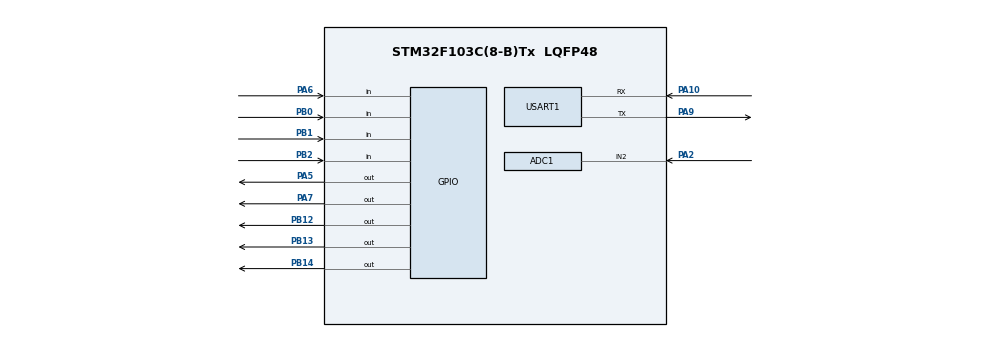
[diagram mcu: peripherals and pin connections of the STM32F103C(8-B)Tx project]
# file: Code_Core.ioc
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ADC1.Channel-0\#ChannelRegularConversion=ADC_CHANNEL_2
ADC1.ContinuousConvMode=ENABLE
ADC1.NbrOfConversionFlag=1
ADC1.Rank-0\#ChannelRegularConversion=1
ADC1.SamplingTime-0\#ChannelRegularConversion=ADC_SAMPLETIME_1CYCLE_5
ADC1.master=1
Dma.ADC1.0.Direction=DMA_PERIPH_TO_MEMORY
Dma.ADC1.0.Instance=DMA1_Channel1
Dma.ADC1.0.MemDataAlignment=DMA_MDATAALIGN_HALFWORD
Dma.ADC1.0.MemInc=DMA_MINC_DISABLE
Dma.ADC1.0.Mode=DMA_CIRCULAR
Dma.ADC1.0.PeriphDataAlignment=DMA_PDATAALIGN_HALFWORD
Dma.ADC1.0.PeriphInc=DMA_PINC_DISABLE
Dma.ADC1.0.Priority=DMA_PRIORITY_LOW
Dma.Request0=ADC1
FREERTOS.BinarySemaphores01=myBinarySem01,Dynamic,NULL,Available
FREERTOS.Events01=myEvent01,Dynamic,NULL
FREERTOS.Mutexes01=systemStateMutex,Dynamic,NULL,Available
FREERTOS.Queues01=motorCommandQueue,16,uint16_t,0,Dynamic,NULL,NULL
FREERTOS.Tasks01=defaultTask,24,128,StartDefaultTask,Default,NULL,Dynamic,NULL,NULL;InputTask,8,128,InputTask_function,Default,NULL,Dynamic,NULL,NULL;MotorTask,8,128,MotorTask_function,Default,NULL,Dynamic,NULL,NULL;EncoderTask,8,128,EncoderTask_function,Default,NULL,Dynamic,NULL,NULL;ESPTask,8,128,ESPTask_function,Default,NULL,Dynamic,NULL,NULL;OTATask,8,128,OTATask_function,Default,NULL,Dynamic,NULL,NULL
FREERTOS.configTOTAL_HEAP_SIZE=8192
Mcu.Family=STM32F1
Mcu.Name=STM32F103C(8-B)Tx
Mcu.Package=LQFP48
NVIC.DMA1_Channel1_IRQn=true\:5\:0\:false\:false\:true\:true\:false\:true\:true
NVIC.PriorityGroup=NVIC_PRIORITYGROUP_4
PA2.Signal=ADCx_IN2
PA1.Signal=S_TIM2_CH2
PA10.Mode=Asynchronous
PA10.Signal=USART1_RX
PA13.Mode=Serial_Wire
PA13.Signal=SYS_JTMS-SWDIO
PA14.Mode=Serial_Wire
PA14.Signal=SYS_JTCK-SWCLK
PA5.Signal=GPIO_Output
PA6.Signal=GPIO_Input
PA7.Signal=GPIO_Output
PA9.Mode=Asynchronous
PA9.Signal=USART1_TX
PB0.Signal=GPIO_Input
PB1.Signal=GPIO_Input
PB12.Signal=GPIO_Output
PB13.Signal=GPIO_Output
PB14.Signal=GPIO_Output
PB2.Signal=GPIO_Input
PB4.Signal=S_TIM3_CH1
PB5.Signal=S_TIM3_CH2
ProjectManager.HeapSize=0x200
ProjectManager.StackSize=0x400
ProjectManager.TargetToolchain=MDK-ARM V5
RCC.APB1Freq_Value=8000000
RCC.APB2Freq_Value=8000000
SH.ADCx_IN2.0=ADC1_IN2,IN2
SH.S_TIM2_CH2.0=TIM2_CH2
SH.S_TIM3_CH1.0=TIM3_CH1
SH.S_TIM3_CH2.0=TIM3_CH2
USART1.VirtualMode=VM_ASYNC
VP_FREERTOS_VS_CMSIS_V2.Mode=CMSIS_V2
board=custom

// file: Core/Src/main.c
/* USER CODE BEGIN Header */
/**
  ******************************************************************************
  * @file           : main.c
  * @brief          : Main program body
  ******************************************************************************
  * @attention
  *
  * Copyright (c) 2026 STMicroelectronics.
  * All rights reserved.
  *
  * This software is licensed under terms that can be found in the LICENSE file
  * in the root directory of this software component.
  * If no LICENSE file comes with this software, it is provided AS-IS.
  *
  ******************************************************************************
  */
/* USER CODE END Header */
#include "main.h"
#include "cmsis_os.h"
#include "adc.h"
#include "dma.h"
#include "usart.h"
#include "gpio.h"

void SystemClock_Config(void);
void MX_FREERTOS_Init(void);

int main(void)
{

  /* MCU Configuration--------------------------------------------------------*/

  /* Reset of all peripherals, Initializes the Flash interface and the Systick. */
  HAL_Init();

  /* Configure the system clock */
  SystemClock_Config();

  /* Initialize all configured peripherals */
  MX_GPIO_Init();
  MX_DMA_Init();
  MX_ADC1_Init();
  MX_USART1_UART_Init();
	ADC_Start();

  /* Init scheduler */
  osKernelInitialize();  /* Call init function for freertos objects (in cmsis_os2.c) */
  MX_FREERTOS_Init();

  /* Start scheduler */
  osKernelStart();

  /* We should never get here as control is now taken by the scheduler */

  /* Infinite loop */
  while (1)
  {

  }
}

void SystemClock_Config(void)
{
  RCC_OscInitTypeDef RCC_OscInitStruct = {0};
  RCC_ClkInitTypeDef RCC_ClkInitStruct = {0};
  RCC_PeriphCLKInitTypeDef PeriphClkInit = {0};

  /** Initializes the RCC Oscillators according to the specified parameters
  * in the RCC_OscInitTypeDef structure.
  */
  RCC_OscInitStruct.OscillatorType = RCC_OSCILLATORTYPE_HSI;
  RCC_OscInitStruct.HSIState = RCC_HSI_ON;
  RCC_OscInitStruct.HSICalibrationValue = RCC_HSICALIBRATION_DEFAULT;
  RCC_OscInitStruct.PLL.PLLState = RCC_PLL_NONE;
  if (HAL_RCC_OscConfig(&RCC_OscInitStruct) != HAL_OK)
  {
    Error_Handler();
  }

  /** Initializes the CPU, AHB and APB buses clocks
  */
  RCC_ClkInitStruct.ClockType = RCC_CLOCKTYPE_HCLK|RCC_CLOCKTYPE_SYSCLK
                              |RCC_CLOCKTYPE_PCLK1|RCC_CLOCKTYPE_PCLK2;
  RCC_ClkInitStruct.SYSCLKSource = RCC_SYSCLKSOURCE_HSI;
  RCC_ClkInitStruct.AHBCLKDivider = RCC_SYSCLK_DIV1;
  RCC_ClkInitStruct.APB1CLKDivider = RCC_HCLK_DIV1;
  RCC_ClkInitStruct.APB2CLKDivider = RCC_HCLK_DIV1;

  if (HAL_RCC_ClockConfig(&RCC_ClkInitStruct, FLASH_LATENCY_0) != HAL_OK)
  {
    Error_Handler();
  }
  PeriphClkInit.PeriphClockSelection = RCC_PERIPHCLK_ADC;
  PeriphClkInit.AdcClockSelection = RCC_ADCPCLK2_DIV2;
  if (HAL_RCCEx_PeriphCLKConfig(&PeriphClkInit) != HAL_OK)
  {
    Error_Handler();
  }
}

void Error_Handler(void)
{
  __disable_irq();
  while (1)
  {
  }
}

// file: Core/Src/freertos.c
/* USER CODE BEGIN Header */
/**
  ******************************************************************************
  * File Name          : freertos.c
  * Description        : Code for freertos applications
  ******************************************************************************
  * @attention
  *
  * Copyright (c) 2026 STMicroelectronics.
  * All rights reserved.
  *
  * This software is licensed under terms that can be found in the LICENSE file
  * in the root directory of this software component.
  * If no LICENSE file comes with this software, it is provided AS-IS.
  *
  ******************************************************************************
  */
/* USER CODE END Header */

#include "FreeRTOS.h"
#include "task.h"
#include "main.h"
#include "cmsis_os.h"

/* USER CODE BEGIN Includes */
#include "adc.h"
#include "usart.h"
#include "stdio.h"
#include "tim.h"
#include "gpio.h"
/* USER CODE END Includes */

/* USER CODE BEGIN Variables */
volatile uint32_t adc_value = 0;
volatile uint8_t prev_but1=1,prev_but2=1,prev_but3=1;
uint32_t cpr=1562;
uint16_t prev_cnt=0;
typedef enum mode_motor{
	FORWARD,
	REVERSE,
	STOP
} mode_motor;
typedef struct infor{
	mode_motor mode;
	uint32_t adc_value;
	float pwm;
	float positionDeg;
	float rpm;
} infor;
infor inf;
/* USER CODE END Variables */
/* Definitions for defaultTask */
osThreadId_t defaultTaskHandle;
const osThreadAttr_t defaultTask_attributes = {
  .name = "defaultTask",
  .stack_size = 128 * 4,
  .priority = (osPriority_t) osPriorityNormal,
};
/* Definitions for InputTask */
osThreadId_t InputTaskHandle;
const osThreadAttr_t InputTask_attributes = {
  .name = "InputTask",
  .stack_size = 256 * 4,
  .priority = (osPriority_t) osPriorityLow,
};
/* Definitions for MotorTask */
osThreadId_t MotorTaskHandle;
const osThreadAttr_t MotorTask_attributes = {
  .name = "MotorTask",
  .stack_size = 128 * 4,
  .priority = (osPriority_t) osPriorityLow,
};
/* Definitions for EncoderTask */
osThreadId_t EncoderTaskHandle;
const osThreadAttr_t EncoderTask_attributes = {
  .name = "EncoderTask",
  .stack_size = 128 * 4,
  .priority = (osPriority_t) osPriorityLow,
};
/* Definitions for ESPTask */
osThreadId_t ESPTaskHandle;
const osThreadAttr_t ESPTask_attributes = {
  .name = "ESPTask",
  .stack_size = 256 * 4,
  .priority = (osPriority_t) osPriorityLow,
};
/* Definitions for OTATask */
osThreadId_t OTATaskHandle;
const osThreadAttr_t OTATask_attributes = {
  .name = "OTATask",
  .stack_size = 256 * 4,
  .priority = (osPriority_t) osPriorityLow,
};
/* Definitions for motorCommandQueue */
osMessageQueueId_t motorCommandQueueHandle;
const osMessageQueueAttr_t motorCommandQueue_attributes = {
  .name = "motorCommandQueue"
};
/* Definitions for systemStateMutex */
osMutexId_t systemStateMutexHandle;
const osMutexAttr_t systemStateMutex_attributes = {
  .name = "systemStateMutex"
};
/* Definitions for myBinarySem01 */
osSemaphoreId_t myBinarySem01Handle;
const osSemaphoreAttr_t myBinarySem01_attributes = {
  .name = "myBinarySem01"
};
/* Definitions for myEvent01 */
osEventFlagsId_t myEvent01Handle;
const osEventFlagsAttr_t myEvent01_attributes = {
  .name = "myEvent01"
};

/* USER CODE BEGIN FunctionPrototypes */
void OTA_TriggerUpdate(void);
void Off_Led(void);
uint32_t Read_ADC();
/* USER CODE END FunctionPrototypes */

void StartDefaultTask(void *argument);
void InputTask_function(void *argument);
void MotorTask_function(void *argument);
void EncoderTask_function(void *argument);
void ESPTask_function(void *argument);
void OTATask_function(void *argument);

void MX_FREERTOS_Init(void); /* (MISRA C 2004 rule 8.1) */

void MX_FREERTOS_Init(void) {
  /* Create the mutex(es) */
  /* creation of systemStateMutex */
  systemStateMutexHandle = osMutexNew(&systemStateMutex_attributes);

  /* Create the semaphores(s) */
  /* creation of myBinarySem01 */
  myBinarySem01Handle = osSemaphoreNew(1, 1, &myBinarySem01_attributes);

  /* Create the queue(s) */
  /* creation of motorCommandQueue */
  motorCommandQueueHandle = osMessageQueueNew (16, sizeof(mode_motor), &motorCommandQueue_attributes);

  /* Create the thread(s) */
  /* creation of defaultTask */
  defaultTaskHandle = osThreadNew(StartDefaultTask, NULL, &defaultTask_attributes);

  /* creation of InputTask */
  InputTaskHandle = osThreadNew(InputTask_function, NULL, &InputTask_attributes);

  /* creation of MotorTask */
  MotorTaskHandle = osThreadNew(MotorTask_function, NULL, &MotorTask_attributes);

  /* creation of EncoderTask */
  EncoderTaskHandle = osThreadNew(EncoderTask_function, NULL, &EncoderTask_attributes);

  /* creation of ESPTask */
  ESPTaskHandle = osThreadNew(ESPTask_function, NULL, &ESPTask_attributes);

  /* creation of OTATask */
  OTATaskHandle = osThreadNew(OTATask_function, NULL, &OTATask_attributes);

  /* creation of myEvent01 */
  myEvent01Handle = osEventFlagsNew(&myEvent01_attributes);

}

void StartDefaultTask(void *argument)
{
  for(;;)
  {
    osDelay(1);
  }
}

void InputTask_function(void *argument)
{
  /* USER CODE BEGIN InputTask_function */
		mode_motor cmd;
    for (;;)
    {
				uint8_t cur_but1=HAL_GPIO_ReadPin(GPIOB,GPIO_PIN_0);
				uint8_t cur_but2=HAL_GPIO_ReadPin(GPIOB,GPIO_PIN_10);
				uint8_t cur_but3=HAL_GPIO_ReadPin(GPIOB,GPIO_PIN_11);
				uint32_t adc_raw = Read_ADC();
				float duty = ((float)adc_raw * 100.0f) / 4095.0f;

				osMutexAcquire(systemStateMutexHandle, osWaitForever);
				inf.adc_value = adc_raw;
				inf.pwm = duty;
				if(cur_but1==0&&prev_but1==1){
					cmd = FORWARD;
					inf.mode = FORWARD;
					osMessageQueuePut(motorCommandQueueHandle,&cmd,NULL,0);
				}
				if(cur_but2==0&&prev_but2==1){
					cmd = REVERSE;
					inf.mode = REVERSE;
					osMessageQueuePut(motorCommandQueueHandle,&cmd,NULL,0);
				}
				if(cur_but3==0&&prev_but3==1){
					cmd = STOP;
					inf.mode = STOP;
					osMessageQueuePut(motorCommandQueueHandle,&cmd,NULL,0);
				}
				osMutexRelease(systemStateMutexHandle);

				prev_but1=cur_but1;
				prev_but2=cur_but2;
				prev_but3=cur_but3;
        osDelay(10);
    }
  /* USER CODE END InputTask_function */
}

void MotorTask_function(void *argument)
{
  /* USER CODE BEGIN MotorTask_function */
  /* Infinite loop */
	mode_motor cmd;
	HAL_TIM_PWM_Start(&htim1, TIM_CHANNEL_1);
	mode_motor cur_mode=STOP;
	float velo=0.0f;
	uint16_t timeout=0;
	uint32_t ccr=0;
	uint32_t arr=0;
  for(;;)
  {
    if (osMessageQueueGet(motorCommandQueueHandle,&cmd,NULL,10) == osOK){
			switch (cmd)
				{
					case FORWARD:
						if(cur_mode!=FORWARD){
							__HAL_TIM_SET_COMPARE(&htim1,TIM_CHANNEL_1,0);
							timeout=0;
						while(1){
							osMutexAcquire(systemStateMutexHandle, osWaitForever);
							velo=inf.rpm;
							osMutexRelease(systemStateMutexHandle);
							if (velo<10 && velo >-10){
								break;
							}
							osDelay(10);
							timeout++;
              if (timeout >= 100)
                 {
                    break;
                  }
						}
					}
						HAL_GPIO_WritePin(GPIOB,GPIO_PIN_7,GPIO_PIN_SET);
            HAL_GPIO_WritePin(GPIOB,GPIO_PIN_4,GPIO_PIN_SET);
						HAL_GPIO_WritePin(GPIOB,GPIO_PIN_6,GPIO_PIN_RESET);
						Off_Led();
						HAL_GPIO_WritePin(GPIOA,GPIO_PIN_4,GPIO_PIN_SET);
						cur_mode=cmd;
            break;

          case REVERSE:
						if(cur_mode!=REVERSE){
							__HAL_TIM_SET_COMPARE(&htim1,TIM_CHANNEL_1,0);
							timeout=0;
						while(1){
							osMutexAcquire(systemStateMutexHandle, osWaitForever);
							velo=inf.rpm;
							osMutexRelease(systemStateMutexHandle);
							if (velo<10 && velo >-10){
								break;
							}
							osDelay(10);
							timeout++;
              if (timeout >= 100)
                 {
                    break;
                  }
						}
					}
						HAL_GPIO_WritePin(GPIOB,GPIO_PIN_7,GPIO_PIN_SET);
						HAL_GPIO_WritePin(GPIOB,GPIO_PIN_4,GPIO_PIN_RESET);
						HAL_GPIO_WritePin(GPIOB,GPIO_PIN_6,GPIO_PIN_SET);
						Off_Led();
						HAL_GPIO_WritePin(GPIOA,GPIO_PIN_5,GPIO_PIN_SET);
						cur_mode=cmd;
            break;

          case STOP:
						HAL_GPIO_WritePin(GPIOB,GPIO_PIN_7,GPIO_PIN_RESET);
            HAL_GPIO_WritePin(GPIOB,GPIO_PIN_4,GPIO_PIN_RESET);
						HAL_GPIO_WritePin(GPIOB,GPIO_PIN_6,GPIO_PIN_RESET);
						Off_Led();
						HAL_GPIO_WritePin(GPIOA,GPIO_PIN_7,GPIO_PIN_SET);
						cur_mode=cmd;
            break;
          }
			}
			osMutexAcquire(systemStateMutexHandle, osWaitForever);
			float duty=inf.pwm;
			mode_motor mode=cur_mode;
			osMutexRelease(systemStateMutexHandle);
			if(mode==STOP){
				__HAL_TIM_SET_COMPARE(&htim1,TIM_CHANNEL_1,0);}
			else{
			arr =__HAL_TIM_GET_AUTORELOAD(&htim1);
			ccr =(uint32_t)((duty* arr) / 100.0f);
			__HAL_TIM_SET_COMPARE(&htim1,TIM_CHANNEL_1,ccr);
			}
  }
  /* USER CODE END MotorTask_function */
}

void EncoderTask_function(void *argument)
{
  /* USER CODE BEGIN EncoderTask_function */
  /* Infinite loop */
	HAL_TIM_Encoder_Start(&htim2, TIM_CHANNEL_ALL);
  for(;;)
  {
		osMutexAcquire(systemStateMutexHandle, osWaitForever);
		uint16_t total_cnt=__HAL_TIM_GET_COUNTER(&htim2);
		inf.positionDeg=((float)total_cnt * 360.0f)/cpr;
		inf.rpm =((float)((int16_t)(total_cnt-prev_cnt)) * 6000.0f) / cpr;
		prev_cnt=total_cnt;
		osMutexRelease(systemStateMutexHandle);
		osDelay(10);
  }
  /* USER CODE END EncoderTask_function */
}

void ESPTask_function(void *argument)
{
  /* USER CODE BEGIN ESPTask_function */
  /* Infinite loop */
	char txbuf[128];
  uint8_t esp_connected = 0;
  uint8_t seq = 0;

  /* Cho ESP-01 boot va auto-connect WiFi */
  osDelay(2000);

  extern uint8_t esp_step;

  uint8_t fail_count = 0;
  uint8_t connection_lost = 0;

  /* Thu ket noi lien tuc cho den khi duoc */
  while(!esp_connected){
    if(ESP_Init("172.20.10.7", 8000)){
      esp_connected = 1;
    } else {
      /* Nhay LED de bao loi o buoc thu esp_step */
      for(int i = 0; i < esp_step; i++){
          HAL_GPIO_WritePin(GPIOA, GPIO_PIN_4 | GPIO_PIN_5 | GPIO_PIN_7, GPIO_PIN_SET);
          osDelay(200);
          HAL_GPIO_WritePin(GPIOA, GPIO_PIN_4 | GPIO_PIN_5 | GPIO_PIN_7, GPIO_PIN_RESET);
          osDelay(200);
      }
      osDelay(3000);
    }
  }

  /* Doi TCP connection on dinh truoc khi gui */
  osDelay(500);

  for(;;)
  {
    /* ====== XU LY RECONNECT NEU CONNECTION MAT ====== */
    if(!esp_connected || connection_lost){
      connection_lost = 0;
      esp_connected = 0;
      ESP_SendCommand("AT+CIPCLOSE\r\n", "OK", 1000);
      osDelay(500);
      if(ESP_Init("172.20.10.7", 8000)){
        esp_connected = 1;
        fail_count = 0;
        osDelay(300);
      } else {
        osDelay(2000);
        continue;
      }
    }

    /* ====== DOC DATA VA GUI JSON ====== */
    osMutexAcquire(systemStateMutexHandle, osWaitForever);
    int mode_val    = (int)inf.mode;
    uint32_t adc_val = inf.adc_value;

    int duty_int    = (int)inf.pwm;
    int duty_dec    = (int)((inf.pwm - duty_int) * 10);
    if(duty_dec < 0) duty_dec = -duty_dec;

    const char* pos_sign = (inf.positionDeg < 0) ? "-" : "";
    float abs_pos   = (inf.positionDeg < 0) ? -inf.positionDeg : inf.positionDeg;
    int pos_int     = (int)abs_pos;
    int pos_dec     = (int)((abs_pos - pos_int) * 100);

    const char* rpm_sign = (inf.rpm < 0) ? "-" : "";
    float abs_rpm   = (inf.rpm < 0) ? -inf.rpm : inf.rpm;
    int rpm_int     = (int)abs_rpm;
    int rpm_dec     = (int)((abs_rpm - rpm_int) * 100);
    osMutexRelease(systemStateMutexHandle);

    /* Build JSON payload (without checksum) */
    int payload_len = snprintf(txbuf, sizeof(txbuf),
      "{\"m\":%d,\"a\":%u,\"d\":%d.%d,\"p\":%s%d.%02d,\"r\":%s%d.%02d,\"s\":%u}",
      mode_val, (unsigned int)adc_val,
      duty_int, duty_dec,
      pos_sign, pos_int, pos_dec,
      rpm_sign, rpm_int, rpm_dec,
      (unsigned int)seq);

    /* Calculate CRC8 on payload */
    uint8_t crc = CRC8_Calculate((uint8_t*)txbuf, payload_len);

    /* Replace closing '}' with checksum field + newline */
    snprintf(txbuf + payload_len - 1, sizeof(txbuf) - payload_len + 1,
      ",\"c\":\"%02X\"}\n", crc);

    seq++; /* uint8_t wraps 0-255 automatically */

    uint8_t result = ESP_SendData(txbuf);

    if(result == 1){
      /* Gui thanh cong */
      fail_count = 0;
    }
    else if(result == 2){
      /* Connection CLOSED - reconnect ngay */
      connection_lost = 1;
      fail_count = 0;
    }
    else {
      /* Send fail - thu lai */
      fail_count++;
      if(fail_count >= 5){
        /* 5 lan fail -> reconnect */
        connection_lost = 1;
        fail_count = 0;
      }
      osDelay(50);
    }

    osDelay(80);
  }
  /* USER CODE END ESPTask_function */
}

void OTATask_function(void *argument)
{
  /* USER CODE BEGIN OTATask_function */
  /* Nhan giu PB12 trong 3 giay de kich hoat OTA */
  /* PB12 pull-down, noi VCC -> nhan = HIGH (GPIO_PIN_SET) */
  uint8_t was_pressed = (HAL_GPIO_ReadPin(GPIOB, GPIO_PIN_12) == GPIO_PIN_SET);
  for(;;)
  {
    uint8_t is_pressed = (HAL_GPIO_ReadPin(GPIOB, GPIO_PIN_12) == GPIO_PIN_SET);

    /* Chi kich hoat khi co su thay doi tu NHA sang NHAN (Edge Detection) */
    if (is_pressed && !was_pressed)
    {
      uint32_t press_start = HAL_GetTick();
      uint8_t held = 1;

      while (held && (HAL_GetTick() - press_start) < 3000)
      {
        if (HAL_GPIO_ReadPin(GPIOB, GPIO_PIN_12) != GPIO_PIN_SET)
        {
          held = 0;
        }
        osDelay(50);
      }

      if (held)
      {
        /* Nhay LED xac nhan OTA truoc khi reset */
        for (int i = 0; i < 10; i++)
        {
          HAL_GPIO_WritePin(GPIOA, GPIO_PIN_4 | GPIO_PIN_5 | GPIO_PIN_7, GPIO_PIN_SET);
          osDelay(100);
          HAL_GPIO_WritePin(GPIOA, GPIO_PIN_4 | GPIO_PIN_5 | GPIO_PIN_7, GPIO_PIN_RESET);
          osDelay(100);
        }

        /* Ghi co OTA va Reset */
        OTA_TriggerUpdate();

        /* Neu vi ly do nao do chua reset duoc thi doi nha nut ra */
        while(HAL_GPIO_ReadPin(GPIOB, GPIO_PIN_12) == GPIO_PIN_SET)
        {
             osDelay(100);
        }
      }
    }

    was_pressed = is_pressed;
    osDelay(100);
  }
  /* USER CODE END OTATask_function */
}
